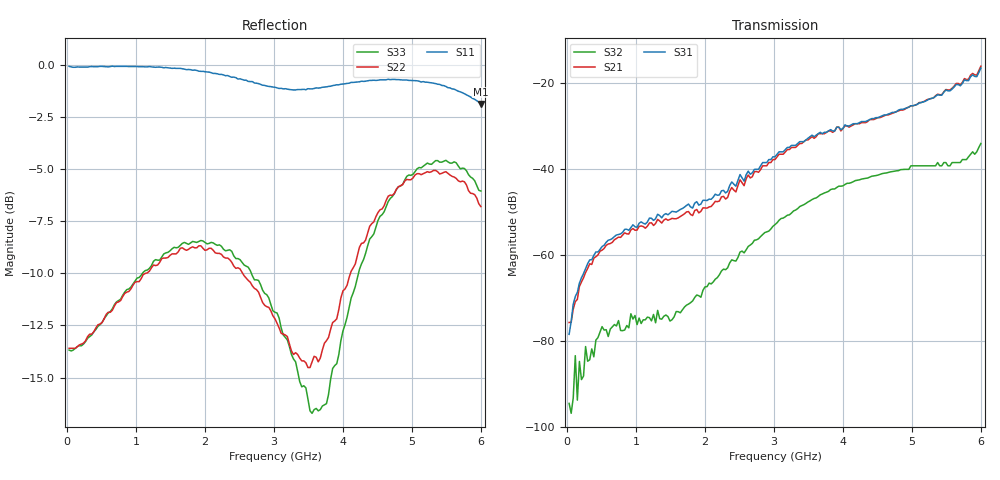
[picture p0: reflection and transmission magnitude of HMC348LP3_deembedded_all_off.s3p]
!Hittite Microwave Corporation
!12 Elizabeth Drive
!Chelmsford, MA 01824
!Tel: 978-250-3343
!Fax: 978-250-3373
!Device: HMC348LP3, DC-2.5 GHz GaAs MMIC SPDT Non-Reflective CATV Switch in Leadless LP3 SMT Package
!Misc: Room Temp Vdd=+5V, All Off.
# MHZ S MA R 50
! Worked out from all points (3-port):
!   201 points, 30 MHz to 6 GHz, reference 50 ohm
!   strongest paths, dB at 30 MHz, 1.522 GHz, 3.015 GHz, 4.508 GHz, 6 GHz:
!     S31: -78.4, -49.8, -37.1, -28.0, -16.4
!     S21: -75.7, -51.4, -37.7, -28.0, -16.0
!     S32: -94.5, -75.0, -52.9, -41.3, -34.0
!   lowest |S11| = -1.9 dB at 6 GHz (marker M1), VSWR 9.26, Z = 374 - j181 ohm
!   |S11| at or under -10 dB: nowhere
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30  0.991 -2.7  0.0001122 17.8  0.0001398 8.4
    0.0001648 21.3  0.209 -5.8  2.839e-05 89.2
    0.00012 30.0  1.885e-05 30.2  0.207 -5.6
119.55  0.986 -9.4  0.0003204 74.7  0.0003062 71.6
        0.0002882 71.8  0.209 -10.2  2.158e-05 141.2
        0.0003305 73.8  6.771e-05 104.0  0.209 -10.2
418.05  0.989 -31.2  0.0009589 83.1  0.001052 84.9
        0.0009623 86.2  0.234 -31.0  0.0001313 61.8
        0.001092 83.9  0.0001028 68.8  0.232 -29.7
1492.65  0.982 -94.7  0.002642 105.6  0.003154 108.7
         0.002621 107.6  0.349 -74.6  0.000217 13.8
         0.003092 110.5  0.0001713 15.5  0.358 -69.7
2268.75  0.945 -136.3  0.004916 147.5  0.005763 142.4
         0.004844 143.1  0.346 -91.7  0.0006912 -64.7
         0.005687 138.0  0.0006893 -71.8  0.361 -82.8
3015  0.883 163.2  0.013 157.1  0.014 151.2
      0.013 158.6  0.246 -126.1  0.002194 -100.7
      0.014 152.8  0.002272 -98.5  0.255 -109.3
3492.6  0.876 117.1  0.022 151.8  0.022 147.7
        0.022 150.2  0.188 -174.9  0.004124 -117.3
        0.023 146.4  0.004168 -117.7  0.158 -149.6
3970.2  0.898 79.5  0.03 141.8  0.031 139.2
        0.028 137.8  0.276 123.9  0.006304 -136.1
        0.029 135.2  0.006367 -138.7  0.218 128.0
5074.65  0.915 32.2  0.057 133.4  0.057 131.4
         0.057 133.2  0.548 73.0  0.011 -162.6
         0.057 131.2  0.011 -163.2  0.563 74.3
6000  0.805 -6.1  0.133 118.6  0.127 115.5
      0.159 121.6  0.457 29.8  0.017 -129.5
      0.151 119.0  0.02 -129.3  0.498 43.9
